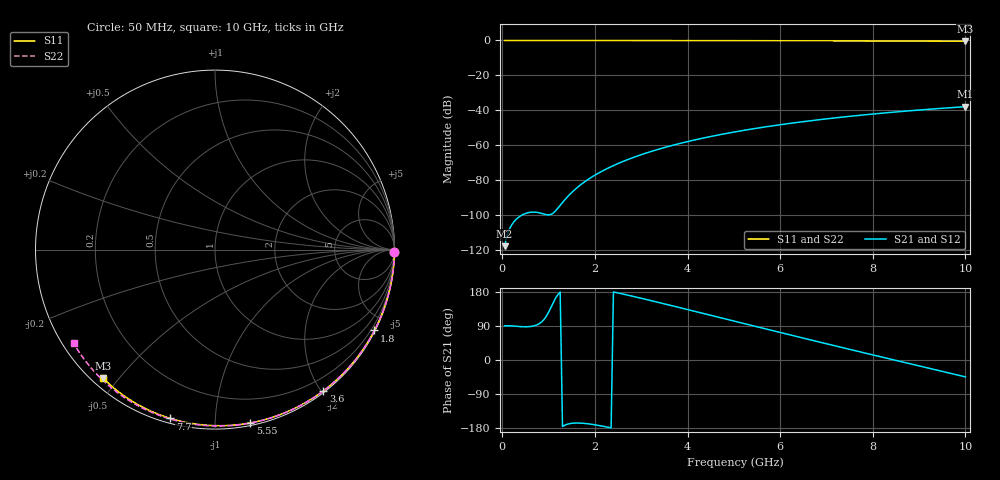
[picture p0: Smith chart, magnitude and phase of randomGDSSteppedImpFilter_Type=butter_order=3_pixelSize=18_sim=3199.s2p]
! freq	dB(S11)	phase(S11)	dB(S12)	phase(S12)
!  dB(S21)	phase(S21)	dB(S22)	phase(S22)
!S-par simulation data
#  GHz  S  DB  R 50
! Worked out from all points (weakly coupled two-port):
!   200 points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, 50 MHz to 10 GHz, reference 50 ohm
!   highest |S21| = -37.91 dB at 10 GHz (marker M1); lowest = -117.8 dB at 50 MHz (marker M2)
!   lowest |S11| = -0.4 dB at 10 GHz (marker M3), VSWR 38.95, Z = 1.55 - j22.7 ohm
!   |S11| at or under -10 dB: nowhere
!   |S22| runs from -0.5 to 0.0 dB; largest |S21 - S12| = 0
!   S11 on the Smith chart (normalised r, x): 50 MHz: open; 1.8 GHz: 0.04, -4.19; 3.6 GHz: 0.02, -2.03; 5.55 GHz: 0.02, -1.22; 7.7 GHz: 0.02, -0.77; 10 GHz: 0.03, -0.45
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0.05  -0.00 -0.8  -117.79 90.3  -117.79 90.3  -0.00 -0.9
0.45  -0.01 -6.8  -99.64 87.8  -99.64 87.8  -0.01 -7.7
0.9  -0.02 -13.6  -99.42 106.8  -99.42 106.8  -0.02 -15.2
1.3  -0.02 -19.5  -92.79 -175.6  -92.79 -175.6  -0.03 -21.9
1.75  -0.03 -26.1  -81.47 -167.1  -81.47 -167.1  -0.04 -29.3
1.8  -0.03 -26.9  -80.52 -167.6  -80.52 -167.6  -0.04 -30.2
1.85  -0.04 -27.6  -79.62 -168.4  -79.62 -168.4  -0.04 -31.0
2.05  -0.04 -30.5  -76.35 -172.1  -76.35 -172.1  -0.04 -34.3
2.2  -0.04 -32.7  -74.21 -175.4  -74.21 -175.4  -0.05 -36.7
2.55  -0.05 -37.7  -69.91 175.6  -69.91 175.6  -0.05 -42.3
2.95  -0.06 -43.4  -65.86 164.3  -65.86 164.3  -0.06 -48.7
3.4  -0.07 -49.8  -62.08 151.1  -62.08 151.1  -0.07 -55.7
3.6  -0.07 -52.5  -60.59 145.2  -60.59 145.2  -0.08 -58.8
4.3  -0.09 -62.1  -56.11 124.1  -56.11 124.1  -0.10 -69.4
5.05  -0.11 -72.0  -52.23 101.3  -52.23 101.3  -0.12 -80.4
5.55  -0.13 -78.5  -50.03 86.2  -50.03 86.2  -0.14 -87.6
6.1  -0.15 -85.4  -47.88 69.7  -47.88 69.7  -0.17 -95.3
6.7  -0.18 -92.8  -45.83 51.7  -45.83 51.7  -0.20 -103.4
7.7  -0.24 -104.8  -42.90 22.2  -42.90 22.2  -0.27 -116.7
8.35  -0.29 -112.4  -41.28 3.3  -41.28 3.3  -0.32 -125.2
9.2  -0.36 -122.1  -39.42 -21.4  -39.42 -21.4  -0.40 -136.2
10  -0.45 -131.1  -37.91 -44.5  -37.91 -44.5  -0.50 -146.5
